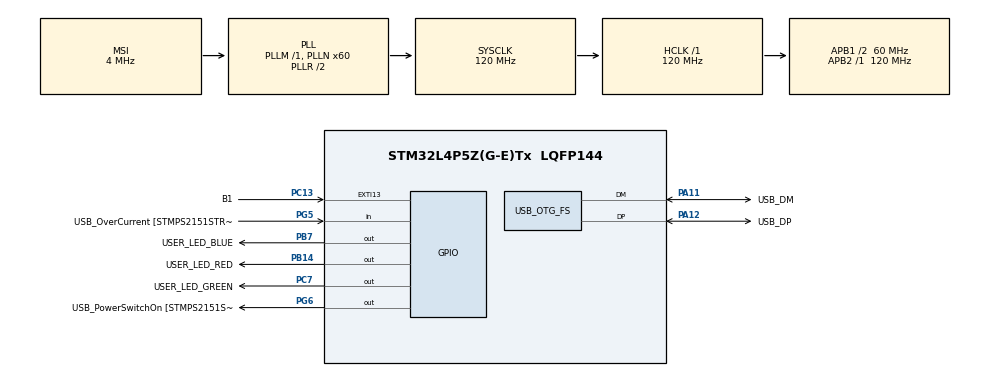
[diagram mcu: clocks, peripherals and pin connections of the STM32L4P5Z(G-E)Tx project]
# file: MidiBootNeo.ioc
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IWDG.Prescaler=IWDG_PRESCALER_128
IWDG.Reload=8*32000/128
IWDG.Window=8*32000/128
Mcu.Family=STM32L4
Mcu.Name=STM32L4P5Z(G-E)Tx
Mcu.Package=LQFP144
NVIC.OTG_FS_IRQn=true\:0\:0\:false\:false\:true\:false\:true
NVIC.PriorityGroup=NVIC_PRIORITYGROUP_4
PA11.GPIO_Label=USB_DM
PA11.Mode=Device_Only
PA11.Signal=USB_OTG_FS_DM
PA12.GPIO_Label=USB_DP
PA12.Mode=Device_Only
PA12.Signal=USB_OTG_FS_DP
PA13\ (JTMS/SWDIO).GPIO_Label=TMS
PA13\ (JTMS/SWDIO).Mode=Trace_Asynchronous_SW
PA13\ (JTMS/SWDIO).Signal=SYS_JTMS-SWDIO
PA14\ (JTCK/SWCLK).GPIO_Label=TCK
PA14\ (JTCK/SWCLK).Mode=Trace_Asynchronous_SW
PA14\ (JTCK/SWCLK).Signal=SYS_JTCK-SWCLK
PB14.GPIO_Label=USER_LED_RED
PB14.Signal=GPIO_Output
PB3\ (JTDO/TRACESWO).GPIO_Label=SWO
PB3\ (JTDO/TRACESWO).Mode=Trace_Asynchronous_SW
PB3\ (JTDO/TRACESWO).Signal=SYS_JTDO-SWO
PB7.GPIO_Label=USER_LED_BLUE
PB7.Signal=GPIO_Output
PC13.GPIO_Label=B1
PC13.Signal=GPXTI13
PC14-OSC32_IN\ (PC14).Mode=LSE-External-Oscillator
PC14-OSC32_IN\ (PC14).Signal=RCC_OSC32_IN
PC15-OSC32_OUT\ (PC15).Mode=LSE-External-Oscillator
PC15-OSC32_OUT\ (PC15).Signal=RCC_OSC32_OUT
PC7.GPIO_Label=USER_LED_GREEN
PC7.Signal=GPIO_Output
PG5.GPIO_Label=USB_OverCurrent [STMPS2151STR_FAULT]
PG5.Signal=GPIO_Input
PG6.GPIO_Label=USB_PowerSwitchOn [STMPS2151STR_En]
PG6.Signal=GPIO_Output
PH0-OSC_IN\ (PH0).Mode=HSE-External-Clock-Source
PH0-OSC_IN\ (PH0).Signal=RCC_OSC_IN
ProjectManager.HeapSize=0x200
ProjectManager.StackSize=0x400
ProjectManager.TargetToolchain=Makefile
RCC.48MHZClocksFreq_Value=24000000
RCC.ADCFreq_Value=48000000
RCC.AHBFreq_Value=120000000
RCC.APB1CLKDivider=RCC_HCLK_DIV2
RCC.APB1Freq_Value=60000000
RCC.APB1TimFreq_Value=120000000
RCC.APB2Freq_Value=120000000
RCC.APB2TimFreq_Value=120000000
RCC.CortexFreq_Value=120000000
RCC.HCLKFreq_Value=120000000
RCC.HSE_VALUE=8000000
RCC.HSI48_VALUE=48000000
RCC.HSI_VALUE=16000000
RCC.MSI_VALUE=4000000
RCC.PLLMUL=RCC_PLL_MUL9
RCC.PLLN=60
RCC.PLLSAI1N=24
RCC.PRESCALERUSB=RCC_USBCLKSOURCE_PLL_DIV1_5
RCC.SYSCLKFreq_VALUE=120000000
RCC.SYSCLKSource=RCC_SYSCLKSOURCE_PLLCLK
RCC.SYSCLKSourceVirtual=RCC_SYSCLKSOURCE_PLLCLK
RCC.USBFreq_Value=48000000
RCC.VCOOutputFreq_Value=240000000
USB_DEVICE.CLASS_NAME_FS=AUDIO
USB_DEVICE.MANUFACTURER_STRING=Rebel Technology
USB_DEVICE.PID_AUDIO_FS=0xdada
USB_DEVICE.PRODUCT_STRING_AUDIO_FS=OWL-BOOT
USB_DEVICE.VID=0x1209
USB_DEVICE.VirtualMode=Audio
USB_DEVICE.VirtualModeFS=Audio_FS
USB_OTG_FS.VirtualMode=Device_Only
USB_OTG_FS.battery_charging_enable=DISABLE
VP_IWDG_VS_IWDG.Mode=IWDG_Activate
VP_USB_DEVICE_VS_USB_DEVICE_AUDIO_FS.Mode=AUDIO_FS
board=NUCLEO-L4P5ZG

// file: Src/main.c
/* USER CODE BEGIN Header */
/**
  ******************************************************************************
  * @file           : main.c
  * @brief          : Main program body
  ******************************************************************************
  * @attention
  *
  * <h2><center>&copy; Copyright (c) 2020 STMicroelectronics.
  * All rights reserved.</center></h2>
  *
  * This software component is licensed by ST under Ultimate Liberty license
  * SLA0044, the "License"; You may not use this file except in compliance with
  * the License. You may obtain a copy of the License at:
  *                             www.st.com/SLA0044
  *
  ******************************************************************************
  */
/* USER CODE END Header */
#include "main.h"
#include "usb_device.h"

/* USER CODE BEGIN Includes */
#include "device.h"
#include "errorhandlers.h"
#include "eepromcontrol.h"
#include "FirmwareHeader.h"
#include "crc32.h"
/* USER CODE END Includes */

IWDG_HandleTypeDef hiwdg;

/* USER CODE BEGIN PV */
/* Private variables ---------------------------------------------------------*/
/* USER CODE END PV */

void SystemClock_Config(void);
static void MX_GPIO_Init(void);
static void MX_IWDG_Init(void);
/* USER CODE BEGIN PFP */
/* Private function prototypes -----------------------------------------------*/

void setup(void);
void loop(void);
void setMessage(const char* msg);
struct FirmwareHeader* getFirmwareHeader(void);
int loadFirmware(void);

typedef  void (*pFunction)(void);

static int testMagic(){
  return *OWLBOOT_MAGIC_ADDRESS == OWLBOOT_MAGIC_NUMBER;
}

static int testButton(){
#ifdef USE_BOOT1_PIN
  return !(BOOT1_GPIO_Port->IDR & BOOT1_Pin);
#else
  #ifdef USE_ENCODER_PIN
  return !(ENC_CLICK_GPIO_Port->IDR & ENC_CLICK_Pin);
  #else
  return 0;
  #endif
#endif
}

static int testNoProgram(){
  // NOTE: this must run only if QSPI flash is:
  // a. initialized successfully
  // b. is in memory-mapped mode
  return (*(__IO uint32_t*)APPLICATION_ADDRESS) != HEADER_MAGIC;
}

static int testWatchdogReset(){
  return __HAL_RCC_GET_FLAG(RCC_FLAG_IWDGRST) != RESET;
}

static int testFirmwareHeader(){
  struct FirmwareHeader* header = getFirmwareHeader();
  uint32_t header_crc = crc32((void*)header, header->header_size - 4, 0);
  return header->checksum != header_crc;
}

/* USER CODE END PFP */

int main(void)
{

  /* MCU Configuration--------------------------------------------------------*/

  /* Reset of all peripherals, Initializes the Flash interface and the Systick. */
  HAL_Init();

  /* Configure the system clock */
  SystemClock_Config();

  /* Initialize all configured peripherals */
  MX_GPIO_Init();
  MX_USB_DEVICE_Init();
  //MX_IWDG_Init();
  /* USER CODE BEGIN 2 */

  if(testMagic()){
    setMessage("Bootloader starting");
  }
  else if(testButton()){
    setMessage("Bootloader requested");
  }
  else if(testWatchdogReset()){
    error(RUNTIME_ERROR, "Watchdog reset");
  }
  else if(testNoProgram()){
    error(RUNTIME_ERROR, "No valid firmware");
  }
  else if(testFirmwareHeader()){
    error(RUNTIME_ERROR, "Invalid firmware header");
  }
  else if (loadFirmware()){
    // jump to application code

    /* Disable all interrupts */
    __disable_irq();

    RCC->CIER = 0x00000000;

    /* Disable and reset SysTick */
    //SysTick->CTRL = 0;
    //SysTick->LOAD = 0;
    //SysTick->VAL = 0;

    /* Clear Interrupt Enable Register & Interrupt Pending Register */
    for (int i = 0;i < 5; i++) {
    	NVIC->ICER[i]=0xFFFFFFFF;
	    NVIC->ICPR[i]=0xFFFFFFFF;
    }

    /* Jump to user application */
    struct FirmwareHeader* header = getFirmwareHeader();

    // Enable IWDG if firmware has option bit set
    if ((header->options >> OPT_IWDG_OFFSET) & OPT_IWDG_MASK)
      MX_IWDG_Init();

    uint32_t JumpAddress = *(__IO uint32_t*) (header->isr_vector_address + 4);
    pFunction jumpToApplication = (pFunction) JumpAddress;
    /* Initialize user application's Stack Pointer */
    __set_MSP(*(__IO uint32_t*) header->isr_vector_address);

    jumpToApplication();
    for(;;);
  }

  MX_IWDG_Init();

  /* Clear reset flags */
  __HAL_RCC_CLEAR_RESET_FLAGS();

  /* Clear magic */
  *OWLBOOT_MAGIC_ADDRESS = 0;

  // Initialise
  setup();

  /* USER CODE END 2 */

  /* Infinite loop */
  /* USER CODE BEGIN WHILE */
  while (1)
  {
    loop();
#ifdef USE_IWDG
    IWDG->KR = 0xaaaa; // reset the watchdog timer
#endif
    /* USER CODE END WHILE */

  }
}

void SystemClock_Config(void)
{
  RCC_OscInitTypeDef RCC_OscInitStruct = {0};
  RCC_ClkInitTypeDef RCC_ClkInitStruct = {0};
  RCC_PeriphCLKInitTypeDef PeriphClkInit = {0};

  /** Configure the main internal regulator output voltage
  */
  if (HAL_PWREx_ControlVoltageScaling(PWR_REGULATOR_VOLTAGE_SCALE1_BOOST) != HAL_OK)
  {
    Error_Handler();
  }
  /** Configure LSE Drive Capability
  */
  HAL_PWR_EnableBkUpAccess();
  __HAL_RCC_LSEDRIVE_CONFIG(RCC_LSEDRIVE_LOW);
  /** Initializes the RCC Oscillators according to the specified parameters
  * in the RCC_OscInitTypeDef structure.
  */
  RCC_OscInitStruct.OscillatorType = RCC_OSCILLATORTYPE_LSI|RCC_OSCILLATORTYPE_LSE
                              |RCC_OSCILLATORTYPE_MSI;
  RCC_OscInitStruct.LSEState = RCC_LSE_ON;
  RCC_OscInitStruct.LSIState = RCC_LSI_ON;
  RCC_OscInitStruct.MSIState = RCC_MSI_ON;
  RCC_OscInitStruct.MSICalibrationValue = 0;
  RCC_OscInitStruct.MSIClockRange = RCC_MSIRANGE_6;
  RCC_OscInitStruct.PLL.PLLState = RCC_PLL_ON;
  RCC_OscInitStruct.PLL.PLLSource = RCC_PLLSOURCE_MSI;
  RCC_OscInitStruct.PLL.PLLM = 1;
  RCC_OscInitStruct.PLL.PLLN = 60;
  RCC_OscInitStruct.PLL.PLLP = RCC_PLLP_DIV7;
  RCC_OscInitStruct.PLL.PLLQ = RCC_PLLQ_DIV2;
  RCC_OscInitStruct.PLL.PLLR = RCC_PLLR_DIV2;
  if (HAL_RCC_OscConfig(&RCC_OscInitStruct) != HAL_OK)
  {
    Error_Handler();
  }
  /** Initializes the CPU, AHB and APB buses clocks
  */
  RCC_ClkInitStruct.ClockType = RCC_CLOCKTYPE_HCLK|RCC_CLOCKTYPE_SYSCLK
                              |RCC_CLOCKTYPE_PCLK1|RCC_CLOCKTYPE_PCLK2;
  RCC_ClkInitStruct.SYSCLKSource = RCC_SYSCLKSOURCE_PLLCLK;
  RCC_ClkInitStruct.AHBCLKDivider = RCC_SYSCLK_DIV1;
  RCC_ClkInitStruct.APB1CLKDivider = RCC_HCLK_DIV2;
  RCC_ClkInitStruct.APB2CLKDivider = RCC_HCLK_DIV1;

  if (HAL_RCC_ClockConfig(&RCC_ClkInitStruct, FLASH_LATENCY_5) != HAL_OK)
  {
    Error_Handler();
  }
  PeriphClkInit.PeriphClockSelection = RCC_PERIPHCLK_USB;
  PeriphClkInit.UsbClockSelection = RCC_USBCLKSOURCE_PLLSAI1;
  PeriphClkInit.PLLSAI1.PLLSAI1Source = RCC_PLLSOURCE_MSI;
  PeriphClkInit.PLLSAI1.PLLSAI1M = 1;
  PeriphClkInit.PLLSAI1.PLLSAI1N = 24;
  PeriphClkInit.PLLSAI1.PLLSAI1P = RCC_PLLP_DIV7;
  PeriphClkInit.PLLSAI1.PLLSAI1Q = RCC_PLLQ_DIV2;
  PeriphClkInit.PLLSAI1.PLLSAI1R = RCC_PLLR_DIV2;
  PeriphClkInit.PLLSAI1.PLLSAI1ClockOut = RCC_PLLSAI1_48M2CLK;
  if (HAL_RCCEx_PeriphCLKConfig(&PeriphClkInit) != HAL_OK)
  {
    Error_Handler();
  }
  /** Enable MSI Auto calibration
  */
  HAL_RCCEx_EnableMSIPLLMode();
}

static void MX_IWDG_Init(void)
{

  hiwdg.Instance = IWDG;
  hiwdg.Init.Prescaler = IWDG_PRESCALER_128;
  hiwdg.Init.Window = 8*32000/128;
  hiwdg.Init.Reload = 8*32000/128;
  if (HAL_IWDG_Init(&hiwdg) != HAL_OK)
  {
    Error_Handler();
  }

}

static void MX_GPIO_Init(void)
{
  GPIO_InitTypeDef GPIO_InitStruct = {0};

  /* GPIO Ports Clock Enable */
  __HAL_RCC_GPIOC_CLK_ENABLE();
  __HAL_RCC_GPIOH_CLK_ENABLE();
  __HAL_RCC_GPIOB_CLK_ENABLE();
  __HAL_RCC_GPIOG_CLK_ENABLE();
  HAL_PWREx_EnableVddIO2();
  __HAL_RCC_GPIOA_CLK_ENABLE();

  /*Configure GPIO pin Output Level */
  HAL_GPIO_WritePin(GPIOB, USER_LED_RED_Pin|USER_LED_BLUE_Pin, GPIO_PIN_RESET);

  /*Configure GPIO pin Output Level */
  HAL_GPIO_WritePin(USB_PowerSwitchOn_GPIO_Port, USB_PowerSwitchOn_Pin, GPIO_PIN_RESET);

  /*Configure GPIO pin Output Level */
  HAL_GPIO_WritePin(USER_LED_GREEN_GPIO_Port, USER_LED_GREEN_Pin, GPIO_PIN_RESET);

  /*Configure GPIO pin : B1_Pin */
  GPIO_InitStruct.Pin = B1_Pin;
  GPIO_InitStruct.Mode = GPIO_MODE_IT_RISING;
  GPIO_InitStruct.Pull = GPIO_NOPULL;
  HAL_GPIO_Init(B1_GPIO_Port, &GPIO_InitStruct);

  /*Configure GPIO pins : USER_LED_RED_Pin USER_LED_BLUE_Pin */
  GPIO_InitStruct.Pin = USER_LED_RED_Pin|USER_LED_BLUE_Pin;
  GPIO_InitStruct.Mode = GPIO_MODE_OUTPUT_PP;
  GPIO_InitStruct.Pull = GPIO_NOPULL;
  GPIO_InitStruct.Speed = GPIO_SPEED_FREQ_LOW;
  HAL_GPIO_Init(GPIOB, &GPIO_InitStruct);

  /*Configure GPIO pin : USB_OverCurrent_Pin */
  GPIO_InitStruct.Pin = USB_OverCurrent_Pin;
  GPIO_InitStruct.Mode = GPIO_MODE_INPUT;
  GPIO_InitStruct.Pull = GPIO_NOPULL;
  HAL_GPIO_Init(USB_OverCurrent_GPIO_Port, &GPIO_InitStruct);

  /*Configure GPIO pin : USB_PowerSwitchOn_Pin */
  GPIO_InitStruct.Pin = USB_PowerSwitchOn_Pin;
  GPIO_InitStruct.Mode = GPIO_MODE_OUTPUT_PP;
  GPIO_InitStruct.Pull = GPIO_NOPULL;
  GPIO_InitStruct.Speed = GPIO_SPEED_FREQ_LOW;
  HAL_GPIO_Init(USB_PowerSwitchOn_GPIO_Port, &GPIO_InitStruct);

  /*Configure GPIO pin : USER_LED_GREEN_Pin */
  GPIO_InitStruct.Pin = USER_LED_GREEN_Pin;
  GPIO_InitStruct.Mode = GPIO_MODE_OUTPUT_PP;
  GPIO_InitStruct.Pull = GPIO_NOPULL;
  GPIO_InitStruct.Speed = GPIO_SPEED_FREQ_LOW;
  HAL_GPIO_Init(USER_LED_GREEN_GPIO_Port, &GPIO_InitStruct);

}

void Error_Handler(void)
{
  /* USER CODE BEGIN Error_Handler_Debug */
#ifdef DEBUG
  __asm__("BKPT");
#else
  NVIC_SystemReset();
#endif
  /* USER CODE END Error_Handler_Debug */
}

#ifdef  USE_FULL_ASSERT
/**
  * @brief  Reports the name of the source file and the source line number
  *         where the assert_param error has occurred.
  * @param  file: pointer to the source file name
  * @param  line: assert_param error line source number
  * @retval None
  */
void assert_failed(uint8_t *file, uint32_t line)
{
  /* USER CODE BEGIN 6 */
#ifdef DEBUG
  __asm__("BKPT");
#else
  NVIC_SystemReset();
#endif
  /* USER CODE END 6 */
}
#endif /* USE_FULL_ASSERT */

/************************ (C) COPYRIGHT STMicroelectronics *****END OF FILE****/
